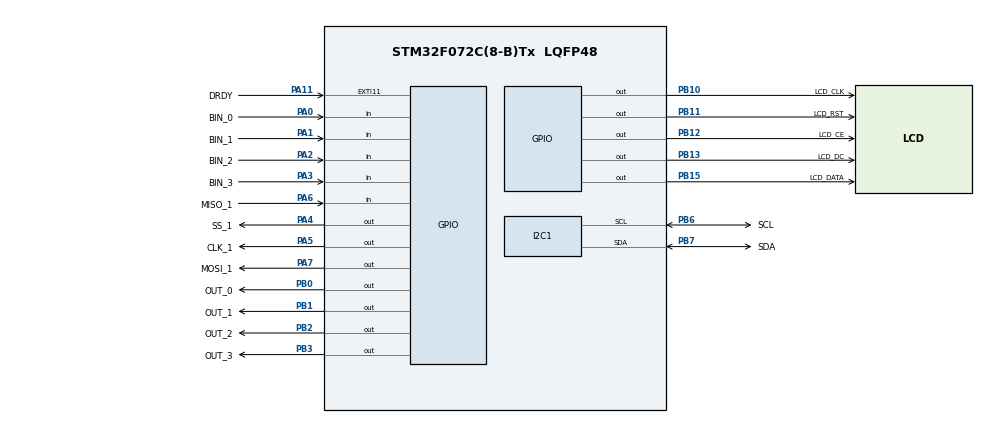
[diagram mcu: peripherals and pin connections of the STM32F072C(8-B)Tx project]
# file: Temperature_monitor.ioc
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I2C1.Speed=50
I2C1.Timing=0x00101D7C
IWDG.Prescaler=IWDG_PRESCALER_256
IWDG.Reload=4000
IWDG.Window=4000
Mcu.Family=STM32F0
Mcu.Name=STM32F072C(8-B)Tx
Mcu.Package=LQFP48
NVIC.EXTI4_15_IRQn=true\:0\:0\:false\:false\:true\:true\:true
PA0.GPIO_Label=BIN_0
PA0.Signal=GPIO_Input
PA1.GPIO_Label=BIN_1
PA1.Signal=GPIO_Input
PA11.GPIO_Label=DRDY
PA11.Signal=GPXTI11
PA13.Mode=Serial_Wire
PA13.Signal=SYS_SWDIO
PA14.Mode=Serial_Wire
PA14.Signal=SYS_SWCLK
PA2.GPIO_Label=BIN_2
PA2.Signal=GPIO_Input
PA3.GPIO_Label=BIN_3
PA3.Signal=GPIO_Input
PA4.GPIO_Label=SS_1
PA4.Signal=GPIO_Output
PA5.GPIO_Label=CLK_1
PA5.Signal=GPIO_Output
PA6.GPIO_Label=MISO_1
PA6.Signal=GPIO_Input
PA7.GPIO_Label=MOSI_1
PA7.Signal=GPIO_Output
PB0.GPIO_Label=OUT_0
PB0.Signal=GPIO_Output
PB1.GPIO_Label=OUT_1
PB1.Signal=GPIO_Output
PB10.GPIO_Label=LCD_CLK
PB10.Signal=GPIO_Output
PB11.GPIO_Label=LCD_RST
PB11.Signal=GPIO_Output
PB12.GPIO_Label=LCD_CE
PB12.Signal=GPIO_Output
PB13.GPIO_Label=LCD_DC
PB13.Signal=GPIO_Output
PB15.GPIO_Label=LCD_DATA
PB15.Signal=GPIO_Output
PB2.GPIO_Label=OUT_2
PB2.Signal=GPIO_Output
PB3.GPIO_Label=OUT_3
PB3.Signal=GPIO_Output
PB6.GPIO_Label=SCL
PB6.Mode=I2C
PB6.Signal=I2C1_SCL
PB7.GPIO_Label=SDA
PB7.Mode=I2C
PB7.Signal=I2C1_SDA
ProjectManager.HeapSize=0x200
ProjectManager.StackSize=0x400
ProjectManager.TargetToolchain=SW4STM32
VP_IWDG_VS_IWDG.Mode=IWDG_Activate
board=custom

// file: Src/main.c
/* USER CODE BEGIN Header */
/**
  ******************************************************************************
  * @file           : main.c
  * @brief          : Main program body
  ******************************************************************************
  * @attention
  *
  * <h2><center>&copy; Copyright (c) 2019 STMicroelectronics.
  * All rights reserved.</center></h2>
  *
  * This software component is licensed by ST under BSD 3-Clause license,
  * the "License"; You may not use this file except in compliance with the
  * License. You may obtain a copy of the License at:
  *                        opensource.org/licenses/BSD-3-Clause
  *
  ******************************************************************************
  */
/* USER CODE END Header */

#include "main.h"

/* USER CODE BEGIN Includes */

#include "nokia5110_LCD.h"
#include "MAX31865.h"
#include "KIMaip.h"

/* USER CODE END Includes */

/* USER CODE BEGIN PTD */

#define MAX_INPUTS 5
#define MAX_OUTPUTS 5
typedef struct {
    uint8_t size;
    uint16_t pins[MAX_INPUTS];
    GPIO_TypeDef *ports[MAX_INPUTS];
    uint16_t objectNrs[MAX_INPUTS];

    uint8_t data[MAX_INPUTS];
} binaryInData;

typedef struct {
    uint8_t size;
    uint16_t pins[MAX_OUTPUTS];
    GPIO_TypeDef *ports[MAX_OUTPUTS];
    CommunicationObject *communicationObjects[MAX_OUTPUTS];
} binaryOutData;

/* USER CODE END PTD */

/* USER CODE BEGIN PD */

#define BIN_INPUTS 4
#define BIN_OUTPUTS 4

/* USER CODE END PD */

I2C_HandleTypeDef hi2c1;

IWDG_HandleTypeDef hiwdg;

/* USER CODE BEGIN PV */

// KIMaip communication objects
CommunicationObject b_out0 = {KIM_TYPE_BOOL, 0};
CommunicationObject b_out1 = {KIM_TYPE_BOOL, 1};
CommunicationObject b_out2 = {KIM_TYPE_BOOL, 2};
CommunicationObject b_out3 = {KIM_TYPE_BOOL, 3};
CommunicationObject illumination = {KIM_TYPE_FLOAT, 9};
CommunicationObject *objects[5] = {&b_out0, &b_out1, &b_out2, &b_out3, &illumination};
uint8_t object_count = 5;

/* USER CODE END PV */

void SystemClock_Config(void);
static void MX_GPIO_Init(void);
static void MX_I2C1_Init(void);
static void MX_IWDG_Init(void);
/* USER CODE BEGIN PFP */

void init_outputs(binaryOutData *b_out);
void validate_pool_temp(float temperature);

/* USER CODE END PFP */

int main(void)
{

  /* MCU Configuration--------------------------------------------------------*/

  /* Reset of all peripherals, Initializes the Flash interface and the Systick. */
  HAL_Init();

  /* Configure the system clock */
  SystemClock_Config();

  /* Initialize all configured peripherals */
  MX_GPIO_Init();
  MX_I2C1_Init();
  MX_IWDG_Init();
  /* USER CODE BEGIN 2 */

    // Init LCD
    LCD_setRST(LCD_RST_GPIO_Port, LCD_RST_Pin);
    LCD_setDC(LCD_DC_GPIO_Port, LCD_DC_Pin);
    LCD_setCE(LCD_CE_GPIO_Port, LCD_CE_Pin);
    LCD_setCLK(LCD_CLK_GPIO_Port, LCD_CLK_Pin);
    LCD_setDATA(LCD_DATA_GPIO_Port, LCD_DATA_Pin);
    LCD_init();

    // Init MAX31865
    MAX31865_GPIO max_gpio;
    max_gpio.MISO_PIN = MISO_1_Pin;
    max_gpio.MISO_PORT = MISO_1_GPIO_Port;
    max_gpio.MOSI_PIN = MOSI_1_Pin;
    max_gpio.MOSI_PORT = MOSI_1_GPIO_Port;
    max_gpio.CLK_PIN = CLK_1_Pin;
    max_gpio.CLK_PORT = CLK_1_GPIO_Port;
    max_gpio.CE_PIN = SS_1_Pin;
    max_gpio.CE_PORT = SS_1_GPIO_Port;
    MAX31865_init(&max_gpio, 3);

    float temperature, avg_temp = 0;

    binaryInData b_in = {
            BIN_INPUTS,                                                                 // Len
            {BIN_0_Pin, BIN_1_Pin, BIN_2_Pin, BIN_3_Pin},                               // GPIO pins
            {BIN_0_GPIO_Port, BIN_1_GPIO_Port, BIN_2_GPIO_Port, BIN_3_GPIO_Port},       // GPIO ports
            {4, 5, 6, 7}                                                                // Communication object numbers
    };

    binaryOutData b_out = {
            BIN_OUTPUTS,                                                                 // Len
            {OUT_0_Pin, OUT_1_Pin, OUT_2_Pin, OUT_3_Pin},                               // GPIO pins
            {OUT_0_GPIO_Port, OUT_1_GPIO_Port, OUT_2_GPIO_Port, OUT_3_GPIO_Port},       // GPIO ports
            {&b_out0, &b_out1, &b_out2, &b_out3}                                        // Communication objects
    };

    uint8_t send_temp_counter = 0;

  /* USER CODE END 2 */

  /* Infinite loop */
    while (1)
    {

    /* USER CODE BEGIN 3 */

        // Read temperature and show on screen, and send to bus
        temperature = MAX31865_readTemp();

        // Onlu send temp every 10 seconds
        if(send_temp_counter >= 10)
        {
            avg_temp = avg_temp / 10;
            KIMaip_Send_Float(avg_temp, 8);
            LCD_print_float(avg_temp, 2, 9, FONT_BIG);

            // Logic functions
            validate_pool_temp(avg_temp);

            send_temp_counter = 0;
            avg_temp = 0;
        }
        else
        {
            avg_temp += temperature;
            send_temp_counter++;
        }

        // Update output status
        for(uint8_t i = 0; i < b_out.size; i++)
        {
            HAL_GPIO_WritePin(b_out.ports[i], b_out.pins[i], b_out.communicationObjects[i]->Bool);
        }

        // Read binary inputs, and send to bus
        uint8_t temp;
        for(uint8_t i = 0; i < b_in.size; i++)
        {
            temp = !HAL_GPIO_ReadPin(b_in.ports[i], b_in.pins[i]);
            if (temp != b_in.data[i])
            {
                b_in.data[i] = temp;
                KIMaip_Send_Bool(b_in.data[i], b_in.objectNrs[i]);
            }
        }

        HAL_IWDG_Refresh(&hiwdg);
        HAL_Delay(1000);

    }
  /* USER CODE END 3 */
}

void SystemClock_Config(void)
{
  RCC_OscInitTypeDef RCC_OscInitStruct = {0};
  RCC_ClkInitTypeDef RCC_ClkInitStruct = {0};
  RCC_PeriphCLKInitTypeDef PeriphClkInit = {0};

  /** Initializes the CPU, AHB and APB busses clocks
  */
  RCC_OscInitStruct.OscillatorType = RCC_OSCILLATORTYPE_HSI|RCC_OSCILLATORTYPE_LSI;
  RCC_OscInitStruct.HSIState = RCC_HSI_ON;
  RCC_OscInitStruct.HSICalibrationValue = RCC_HSICALIBRATION_DEFAULT;
  RCC_OscInitStruct.LSIState = RCC_LSI_ON;
  RCC_OscInitStruct.PLL.PLLState = RCC_PLL_NONE;
  if (HAL_RCC_OscConfig(&RCC_OscInitStruct) != HAL_OK)
  {
    Error_Handler();
  }
  /** Initializes the CPU, AHB and APB busses clocks
  */
  RCC_ClkInitStruct.ClockType = RCC_CLOCKTYPE_HCLK|RCC_CLOCKTYPE_SYSCLK
                              |RCC_CLOCKTYPE_PCLK1;
  RCC_ClkInitStruct.SYSCLKSource = RCC_SYSCLKSOURCE_HSI;
  RCC_ClkInitStruct.AHBCLKDivider = RCC_SYSCLK_DIV1;
  RCC_ClkInitStruct.APB1CLKDivider = RCC_HCLK_DIV1;

  if (HAL_RCC_ClockConfig(&RCC_ClkInitStruct, FLASH_LATENCY_0) != HAL_OK)
  {
    Error_Handler();
  }
  PeriphClkInit.PeriphClockSelection = RCC_PERIPHCLK_I2C1;
  PeriphClkInit.I2c1ClockSelection = RCC_I2C1CLKSOURCE_HSI;
  if (HAL_RCCEx_PeriphCLKConfig(&PeriphClkInit) != HAL_OK)
  {
    Error_Handler();
  }
}

static void MX_I2C1_Init(void)
{

  hi2c1.Instance = I2C1;
  hi2c1.Init.Timing = 0x00101D7C;
  hi2c1.Init.OwnAddress1 = 0;
  hi2c1.Init.AddressingMode = I2C_ADDRESSINGMODE_7BIT;
  hi2c1.Init.DualAddressMode = I2C_DUALADDRESS_DISABLE;
  hi2c1.Init.OwnAddress2 = 0;
  hi2c1.Init.OwnAddress2Masks = I2C_OA2_NOMASK;
  hi2c1.Init.GeneralCallMode = I2C_GENERALCALL_DISABLE;
  hi2c1.Init.NoStretchMode = I2C_NOSTRETCH_DISABLE;
  if (HAL_I2C_Init(&hi2c1) != HAL_OK)
  {
    Error_Handler();
  }
  /** Configure Analogue filter
  */
  if (HAL_I2CEx_ConfigAnalogFilter(&hi2c1, I2C_ANALOGFILTER_ENABLE) != HAL_OK)
  {
    Error_Handler();
  }
  /** Configure Digital filter
  */
  if (HAL_I2CEx_ConfigDigitalFilter(&hi2c1, 0) != HAL_OK)
  {
    Error_Handler();
  }

}

static void MX_IWDG_Init(void)
{

  hiwdg.Instance = IWDG;
  hiwdg.Init.Prescaler = IWDG_PRESCALER_256;
  hiwdg.Init.Window = 4000;
  hiwdg.Init.Reload = 4000;
  if (HAL_IWDG_Init(&hiwdg) != HAL_OK)
  {
    Error_Handler();
  }

}

static void MX_GPIO_Init(void)
{
  GPIO_InitTypeDef GPIO_InitStruct = {0};

  /* GPIO Ports Clock Enable */
  __HAL_RCC_GPIOA_CLK_ENABLE();
  __HAL_RCC_GPIOB_CLK_ENABLE();

  /*Configure GPIO pin Output Level */
  HAL_GPIO_WritePin(GPIOA, SS_1_Pin|CLK_1_Pin|MOSI_1_Pin, GPIO_PIN_RESET);

  /*Configure GPIO pin Output Level */
  HAL_GPIO_WritePin(GPIOB, OUT_0_Pin|OUT_1_Pin|OUT_2_Pin|LCD_CLK_Pin
                          |LCD_RST_Pin|LCD_CE_Pin|LCD_DC_Pin|LCD_DATA_Pin
                          |OUT_3_Pin, GPIO_PIN_RESET);

  /*Configure GPIO pins : BIN_0_Pin BIN_1_Pin BIN_2_Pin BIN_3_Pin
                           MISO_1_Pin */
  GPIO_InitStruct.Pin = BIN_0_Pin|BIN_1_Pin|BIN_2_Pin|BIN_3_Pin
                          |MISO_1_Pin;
  GPIO_InitStruct.Mode = GPIO_MODE_INPUT;
  GPIO_InitStruct.Pull = GPIO_NOPULL;
  HAL_GPIO_Init(GPIOA, &GPIO_InitStruct);

  /*Configure GPIO pins : SS_1_Pin CLK_1_Pin MOSI_1_Pin */
  GPIO_InitStruct.Pin = SS_1_Pin|CLK_1_Pin|MOSI_1_Pin;
  GPIO_InitStruct.Mode = GPIO_MODE_OUTPUT_PP;
  GPIO_InitStruct.Pull = GPIO_NOPULL;
  GPIO_InitStruct.Speed = GPIO_SPEED_FREQ_LOW;
  HAL_GPIO_Init(GPIOA, &GPIO_InitStruct);

  /*Configure GPIO pins : OUT_0_Pin OUT_1_Pin OUT_2_Pin LCD_CLK_Pin
                           LCD_RST_Pin LCD_CE_Pin LCD_DC_Pin LCD_DATA_Pin
                           OUT_3_Pin */
  GPIO_InitStruct.Pin = OUT_0_Pin|OUT_1_Pin|OUT_2_Pin|LCD_CLK_Pin
                          |LCD_RST_Pin|LCD_CE_Pin|LCD_DC_Pin|LCD_DATA_Pin
                          |OUT_3_Pin;
  GPIO_InitStruct.Mode = GPIO_MODE_OUTPUT_PP;
  GPIO_InitStruct.Pull = GPIO_NOPULL;
  GPIO_InitStruct.Speed = GPIO_SPEED_FREQ_LOW;
  HAL_GPIO_Init(GPIOB, &GPIO_InitStruct);

  /*Configure GPIO pin : DRDY_Pin */
  GPIO_InitStruct.Pin = DRDY_Pin;
  GPIO_InitStruct.Mode = GPIO_MODE_IT_RISING;
  GPIO_InitStruct.Pull = GPIO_NOPULL;
  HAL_GPIO_Init(DRDY_GPIO_Port, &GPIO_InitStruct);

  /* EXTI interrupt init*/
  HAL_NVIC_SetPriority(EXTI4_15_IRQn, 0, 0);
  HAL_NVIC_EnableIRQ(EXTI4_15_IRQn);

}

/* USER CODE BEGIN 4 */

void HAL_GPIO_EXTI_Callback(uint16_t GPIO_Pin)
{
    if(GPIO_Pin == DRDY_Pin)
    {
        KIMaip_Handle_Interrupt();
    }
}

void validate_pool_temp(float temperature)
{
    float temp_limit = 30.0;
    static uint8_t pool_too_hot = 0;

    if(temperature >= temp_limit && !pool_too_hot)
    {
        pool_too_hot = 1;
        KIMaip_Send_Bool(1, 10);
    }
    else if(temperature < (temp_limit-1) && pool_too_hot)
    {
        pool_too_hot = 0;
        KIMaip_Send_Bool(0, 10);
    }
}

/* USER CODE END 4 */

void Error_Handler(void)
{
}

/************************ (C) COPYRIGHT STMicroelectronics *****END OF FILE****/
